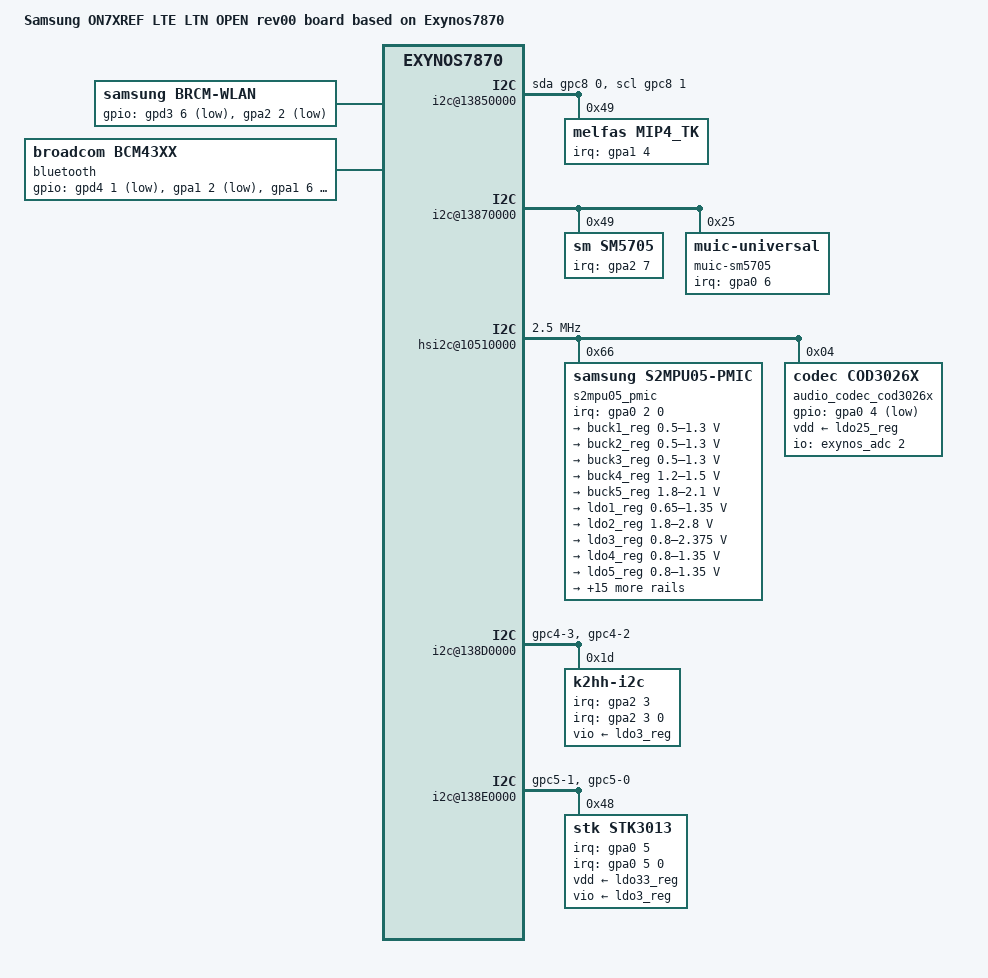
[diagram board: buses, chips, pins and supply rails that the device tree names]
/*
 * SAMSUNG UNIVERSAL8890 board device tree source
 *
 * Copyright (c) 2013 Samsung Electronics Co., Ltd.
 *		http://www.samsung.com
 *
 * This program is free software; you can redistribute it and/or modify
 * it under the terms of the GNU General Public License version 2 as
 * published by the Free Software Foundation.
*/

/dts-v1/;
#include "exynos7870-on7xreflte_common.dtsi"
#include "modem-ss315ap-pdata.dtsi"
#include "exynos7870-on7xreflte_ltn_open_gpio_00.dtsi"
#include "exynos7870-on7xreflte_swa_open_battery_00.dtsi"
#include "exynos7870-on7xelte_fingerprint-sensor_02.dtsi"

/ {
	model = "Samsung ON7XREF LTE LTN OPEN rev00 board based on Exynos7870";
        model_info-chip = <7870>;
        model_info-platform = "android";
        model_info-subtype = "samsung";
        model_info-hw_rev = <0>;
        model_info-hw_rev_end = <0>;
	compatible = "samsung, ON7XREF LTE LTN OPEN 00", "samsung,exynos7870";

	i2c@13850000 {
		compatible = "i2c-gpio";
		gpios = <&gpc8 0 0 /* sda */
				&gpc8 1 0 /* scl */
				>;
		i2c-gpio,delay-us = <2>;
		#address-cells = <1>;
		#size-cells = <0>;
		status = "okay";
		pinctrl-names = "default","on_i2c","off_i2c";
		pinctrl-0 = <&cfg_i2c>;
		pinctrl-1 = <&cfg_i2c>;
		pinctrl-2 = <&cfg_gpio>;
		mip4_tk@49{
			compatible = "melfas,mip4_tk";
			reg = <0x49>;
			pinctrl-names = "default";
			pinctrl-0 = <&tkey_irq>;
			mip4_tk,keynum = <2>;
			mip4_tk,keycode = <254 158>;
			mip4_tk,irq-gpio = <&gpa1 4 0>;
			mip4_tk,pwr-reg-name = "touchkey_3p0";
			mip4_tk,boot-on-ldo = <1>;
			mip4_tk,firmware-name = "melfas_tk/mhs204g_on7xlte.fw";
			mip4_tk,grip_ch = <1>;
		};
	};
	
	i2c@13870000 {
		status = "okay";
		samsung,i2c-sda-delay = <100>;
		samsung,i2c-max-bus-freq = <400000>;
		
		sm5705@49 {
			status = "okay";
			compatible = "sm,sm5705";
			reg = <0x49>; 
			pinctrl-names = "default";
			pinctrl-0 = <&if_irq &chg_en>;
			sm5705,irq-gpio = <&gpa2 7 0>;
			sm5705,wakeup;

			flash {
				status = "okay";
				led1 {
					ledname = "leds-sm5705-fled0";
					id = <0>;
					flash-mode-current-mA = <1000>;
					torch-mode-current-mA = <150>;
					used-gpio-control = <1>;
					flash-en-gpio = <&gpd3 2 0>;
					torch-en-gpio = <&gpd3 3 0>;
					torch_table = <30 60 90 130 180>;
				};
				led2 {
					ledname = "leds-sm5705-fled1";
					id = <1>;
					flash-mode-current-mA = <0>;
					torch-mode-current-mA = <0>;
					used-gpio-control = <0>;
				};
			};
		};

		 muic-sm5705@25{
			compatible = "muic-universal";
            reg = <0x25>;
            pinctrl-names = "default";
            pinctrl-0 = <&muic_irq>;
            muic-universal,chip_name = "sm,sm5705";
            muic-universal,irq-gpio = <&gpa0 6 0>;         //muic_int
            muic-universal,wakeup;
		};
	};

	but_zones: but_zones {
		#list-but-cells = <3>;
	};

	hsi2c@10510000 {
		status = "okay";
		samsung,hs-mode;
		clock-frequency = <2500000>;
		samsung,hsi2c-batcher;
		#address-cells = <1>;
		#size-cells = <0>;

		s2mpu05_pmic@66 {
			compatible = "samsung,s2mpu05-pmic";
			reg = <0x66>;
			ten-bit-address;
			interrupts = <2 0 0>;
			interrupt-parent = <&gpa0>;
			pinctrl-names = "default";
			pinctrl-0 = <&pmic_irq &pm_wrsti>;
			g3d_en = <1>; /* 1 : enable , 0 : disable */
			buck2en_pin = "etc1-3";
			buck2en_addr = "139B0080.pinctrl";
			/* RTC: wtsr/smpl */
			wtsr_en = <1>; /* enable */
			smpl_en = <1>; /* enable */
			wtsr_timer_val = <3>;   /* 1000ms */
			smpl_timer_val = <0>;   /* 100ms */
			check_jigon = <0>; /* do not check jigon */
			/* RTC: If it's first boot, reset rtc to 1/1/2016 12:00:00(Fri) */
			init_time,sec = <0>;
			init_time,min = <0>;
			init_time,hour = <12>;
			init_time,mday = <1>;
			init_time,mon = <0>;
			init_time,year = <116>;
			init_time,wday = <5>;

			regulators {
				buck1_reg: BUCK1 {
					regulator-name = "BUCK1";
					regulator-min-microvolt = <500000>;
					regulator-max-microvolt = <1300000>;
					regulator-always-on;
					regulator-boot-on;
					regulator-ramp-delay = <12000>;
					regulator-initial-mode = <1>;
					regulator-expected-consumer = <2>;
				};

				buck2_reg: BUCK2 {
					regulator-name = "BUCK2";
					regulator-min-microvolt = <500000>;
					regulator-max-microvolt = <1300000>;
					regulator-always-on;
					regulator-boot-on;
					regulator-ramp-delay = <12000>;
					regulator-initial-mode = <2>;		/* MIF mode */
					regulator-expected-consumer = <4>;
				};

				buck3_reg: BUCK3 {
					regulator-name = "BUCK3";
					regulator-min-microvolt = <500000>;
					regulator-max-microvolt = <1300000>;
					regulator-always-on;
					regulator-boot-on;
					regulator-ramp-delay = <12000>;
					regulator-initial-mode = <2>;
				};

				buck4_reg: BUCK4 {
					regulator-name = "BUCK4";
					regulator-min-microvolt = <1200000>;
					regulator-max-microvolt = <1500000>;
					regulator-always-on;
					regulator-boot-on;
					regulator-ramp-delay = <12000>;
					regulator-initial-mode = <2>;
				};

				buck5_reg: BUCK5 {
					regulator-name = "BUCK5";
					regulator-min-microvolt = <1800000>;
					regulator-max-microvolt = <2100000>;
					regulator-always-on;
					regulator-boot-on;
					regulator-ramp-delay = <12000>;
					regulator-initial-mode = <2>;
				};

				ldo1_reg: LDO1 {
					regulator-name = "vdd_ldo1";
					regulator-min-microvolt = <650000>;
					regulator-max-microvolt = <1350000>;
					regulator-always-on;
					regulator-boot-on;
					regulator-ramp-delay = <12000>;
					regulator-initial-mode = <3>;
				};

				ldo2_reg: LDO2 {
					regulator-name = "vqmmc";
					regulator-min-microvolt = <1800000>;
					regulator-max-microvolt = <2800000>;
					regulator-ramp-delay = <12000>;
					regulator-initial-mode = <0>;
				};

				ldo3_reg: LDO3 {
					regulator-name = "vdd_ldo3";
					regulator-min-microvolt = <800000>;
					regulator-max-microvolt = <2375000>;
					regulator-boot-on;
					regulator-always-on;
					regulator-ramp-delay = <12000>;
					regulator-initial-mode = <3>;
				};

				ldo4_reg: LDO4 {
					regulator-name = "vdd_ldo4";
					regulator-min-microvolt = <800000>;
					regulator-max-microvolt = <1350000>;
					regulator-boot-on;
					regulator-always-on;
					regulator-ramp-delay = <12000>;
					regulator-initial-mode = <1>;
				};

				ldo5_reg: LDO5 {
					regulator-name = "vdd_ldo5";
					regulator-min-microvolt = <800000>;
					regulator-max-microvolt = <1350000>;
					regulator-boot-on;
					regulator-always-on;
					regulator-ramp-delay = <12000>;
					regulator-initial-mode = <3>;
				};

				ldo6_reg: LDO6 {
					regulator-name = "vdd_ldo6";
					regulator-min-microvolt = <800000>;
					regulator-max-microvolt = <1350000>;
					regulator-boot-on;
					regulator-always-on;
					regulator-ramp-delay = <12000>;
					regulator-initial-mode = <1>;
				};

				ldo7_reg: LDO7 {
					regulator-name = "vdd_ldo7";
					regulator-min-microvolt = <800000>;
					regulator-max-microvolt = <2375000>;
					regulator-boot-on;
					regulator-always-on;
					regulator-ramp-delay = <12000>;
					regulator-initial-mode = <1>;
				};

				ldo8_reg: LDO8 {
					regulator-name = "vdd_ldo8";
					regulator-min-microvolt = <1800000>;
					regulator-max-microvolt = <3375000>;
					regulator-boot-on;
					regulator-always-on;
					regulator-ramp-delay = <12000>;
					regulator-initial-mode = <1>;
				};

				ldo9_reg: LDO9 {
					regulator-name = "vdd_ldo9";
					regulator-min-microvolt = <650000>;
					regulator-max-microvolt = <1350000>;
					regulator-always-on;
					regulator-ramp-delay = <12000>;
					regulator-initial-mode = <1>;
				};

				ldo10_reg: LDO10 {
					regulator-name = "vdd_ldo10";
					regulator-min-microvolt = <650000>;
					regulator-max-microvolt = <1350000>;
					regulator-always-on;
					regulator-ramp-delay = <12000>;
					regulator-initial-mode = <1>;
				};

				ldo25_reg: LDO25 {
					regulator-name = "vdd_ldo25";
					regulator-min-microvolt = <800000>;
					regulator-max-microvolt = <2375000>;
					regulator-ramp-delay = <12000>;
					regulator-initial-mode = <1>;
				};

				ldo26_reg: LDO26 {
					regulator-name = "vemmc";
					regulator-min-microvolt = <1800000>;
					regulator-max-microvolt = <3375000>;
					regulator-boot-on;
					regulator-ramp-delay = <12000>;
					regulator-initial-mode = <3>;
				};

				ldo27_reg: LDO27 {
					regulator-name = "vqemmc";
					regulator-min-microvolt = <800000>;
					regulator-max-microvolt = <2375000>;
					regulator-boot-on;
					regulator-ramp-delay = <12000>;
					regulator-initial-mode = <3>;
				};

				ldo29_reg: LDO29 {
					regulator-name = "VDD_CAM_AF_2P8";
					regulator-min-microvolt = <2800000>;
					regulator-max-microvolt = <2800000>;
					regulator-initial-mode = <0>;
				};

				ldo30_reg: LDO30 {
					regulator-name = "LCD_1P8";
					regulator-min-microvolt = <1800000>;
					regulator-max-microvolt = <1800000>;
					regulator-boot-on;
					regulator-ramp-delay = <12000>;
					regulator-initial-mode = <3>;
				};

				ldo31_reg: LDO31 {
					regulator-name = "vdd_ldo31";
					regulator-min-microvolt = <2800000>;
					regulator-max-microvolt = <2800000>;
					regulator-boot-on;
					regulator-always-on;
					regulator-ramp-delay = <12000>;
					regulator-initial-mode = <3>;
				};

				ldo32_reg: LDO32 {
					regulator-name = "VDD_MOTOR_3.3";
					regulator-min-microvolt = <3300000>;
					regulator-max-microvolt = <3300000>;
					regulator-ramp-delay = <12000>;
				};

				ldo33_reg: LDO33 {
					regulator-name = "vdd_sensor_3p3";
					regulator-min-microvolt = <3300000>;
					regulator-max-microvolt = <3300000>;
					regulator-ramp-delay = <12000>;
					regulator-initial-mode = <3>;
				};

				ldo34_reg: LDO34 {
					regulator-name = "touchkey_3p0";
					regulator-min-microvolt = <3000000>;
					regulator-max-microvolt = <3000000>;
					regulator-ramp-delay = <12000>;
					regulator-initial-mode = <1>;
					regulator-boot-on;
				};

				ldo35_reg: LDO35 {
					regulator-name = "VDD_CAM_SENSOR_A2P8";
					regulator-min-microvolt = <2800000>;
					regulator-max-microvolt = <2800000>;
					regulator-initial-mode = <0>;
				};
			};
		};

		audio_codec_cod3026x: cod3026x@04 {
			compatible = "codec,cod3026x";
			reg = <0x04>;
			ten-bit-address;
			vdd-supply = <&ldo25_reg>;
			pinctrl-names = "default";
			pinctrl-0 = <&cod3026_irq>;
			interrupt-parent = <&gpa0>;
			gpios = <&gpa0 4 0xf>;
			mic-bias1-voltage = <1>;
			mic-bias2-voltage = <1>;
			mic-bias-ldo-voltage = <3>;
			use-det-adc-mode;
			io-channels = <&exynos_adc 2>;
			io-channel-names = "adc-jack";
			#io-channel-cells = <1>;
			io-channel-ranges;
			but-zones-list = <&but_zones 226 0 200>, /* send/end */
					<&but_zones 582 201 290>, /* google */
					<&but_zones 115 291 496>, /* vol up */
					<&but_zones 114 497 1000>; /* vol down */
			mic-adc-range = <1350>;
		};
	};

	wlan {
		compatible = "samsung,brcm-wlan";
		gpios = <&gpd3 6 0x1 /* WLAN_EN */
		&gpa2 2 0x1 /* WLAN HOST WAKE GPIO_0 */>;
		pinctrl-names = "default";
		pinctrl-0 = <&cfg_wlanen &cfg_wlanhostwake>;
		status = "okay";
	};


	bluetooth {
		compatible = "broadcom,bcm43xx";
		gpios = <&gpd4 1 0x1	/*BT_EN*/
                         &gpa1 2 0x1	/*BT_WAKE*/
                         &gpa1 6 0xF	/*BT_HOST_WAKE*/ >;
		pinctrl-names = "default";
		pinctrl-0=<&bt_hostwake &bt_btwake &bt_en>;
		status = "okay";
	};

	pinctrl@139F0000 {
		acc_int: acc_int {
			samsung,pins = "gpa2-3";
			samsung,pin-function = <0xf>;
			samsung,pin-pud = <0>;
			samsung,pin-drv = <0>;
		};

		prox_int: prox_int {
			samsung,pins = "gpa0-5";
			samsung,pin-function = <0xf>;
			samsung,pin-pud = <0>;
			samsung,pin-drv = <0>;
		};

		grip_irq: grip_irq {
			samsung,pins = "gpa1-5";
			samsung,pin-function = <0xf>;
			samsung,pin-pud = <0>;
			samsung,pin-drv = <0>;
		};

		cfg_wlanhostwake: cfg-wlanhostwake {
			samsung,pins = "gpa2-2";
			samsung,pin-function = <0>;
			samsung,pin-pud = <1>;
		};
	};

	pinctrl@13750000 {
		sd1_bus1: sd1-bus-width1 {
			samsung,pin-pud = <3>;
		};

		sd1_bus4: sd1-bus-width4 {
			samsung,pin-pud = <3>;
		};

	};

	pinctrl@139B0000 {
		sensor_i2c: sensor_i2c {
			samsung,pins = "gpc4-3", "gpc4-2";
			samsung,pin-function = <2>;
			samsung,pin-pud = <0>;
		};

		proxy_i2c: proxy_i2c {
			samsung,pins = "gpc5-1", "gpc5-0";
			samsung,pin-function = <2>;
			samsung,pin-pud = <0>;
		};

		grip_i2c: grip_i2c-bus {
			samsung,pins = "gpc1-3", "gpc1-2";
			samsung,pin-function = <2>;
			samsung,pin-pud = <0>;
		};

		cfg_wlanen: cfg-wlanen  {       /* WLAN_EN */
			samsung,pins = "gpd3-6";
			samsung,pin-function = <1>;
			samsung,pin-pud = <0>;
			samsung,pin-drv = <3>;
			samsung,pin-con-pdn = <3>;
			samsung,pin-pud-pdn = <0>;
			samsung,pin-val = <0>;
		};
	};
	
	pinctrl@139D0000 {
		i2c3_bus: i2c3-bus {
			samsung,pins = "gpc3-1", "gpc3-0";
			samsung,pin-pud = <0>;      /* NP (init-state) */
			samsung,pin-pud-pdn = <1>;  /* PD (sleep-state) */
		};
	};

	i2c@138D0000 {
		samsung,i2c-sda-delay = <100>;
		samsung,i2c-max-bus-freq = <400000>;
		status = "okay";
		#address-cells = <1>;
		#size-cells = <0>;
		pinctrl-names = "default";
		pinctrl-0 = <&sensor_i2c>;

		k2hh-i2c@1D {
			compatible = "k2hh-i2c";
			reg = <0x1D>;
			pinctrl-names = "default";
			pinctrl-0 = <&acc_int>;
			interrupt-parent = <&gpa2>;
			interrupts = <3 0 0>;
			k2hh,irq_gpio = <&gpa2 3 0>;
			k2hh,vio-supply = <&ldo3_reg>;
			k2hh,axis_map_x = <0>;
			k2hh,axis_map_y = <1>;
			k2hh,axis_map_z = <2>;
			k2hh,negate_x = <1>;
			k2hh,negate_y = <0>;
			k2hh,negate_z = <0>;
			k2hh,poll_interval = <100>;
			k2hh,min_interval = <2>;
		};
	};

	i2c@138E0000 {
		samsung,i2c-sda-delay = <100>;
		samsung,i2c-max-bus-freq = <400000>;
		status = "okay";
		#address-cells = <1>;
		#size-cells = <0>;
		pinctrl-names = "default";
		pinctrl-0 = <&proxy_i2c>;

		stk3013@48 {
			compatible = "stk,stk3013";
			reg = <0x48>;
			interrupt-parent = <&gpa0>;
			interrupts = <5 0 0>;
			pinctrl-names = "default";
			pinctrl-0 = <&prox_int>;
			stk,vdd-supply = <&ldo33_reg>;
			stk,vio-supply = <&ldo3_reg>;
			stk,vled_ldo = <&gpa2 5 0>;
			stk,irq-gpio = <&gpa0 5 0x00>;
			stk,state-reg = <0x2d>;
			stk,psctrl-reg = <0x71>;
			stk,alsctrl-reg = <0x2A>;
			stk,ledctrl-reg = <0xBF>;
			stk,wait-reg = <0x03>;
			stk,ps-thd-h = <20>;
			stk,ps-thd-l = <13>;
			stk,ps-cancel-thd-h = <10>;
			stk,ps-cancel-thd-l = <7>;
			stk,ps-cal-skip-adc = <10>;
			stk,ps-cal-fail-adc = <23>;
			stk,ps-default-offset = <3>;
			stk,transmittance = <500>;
		};
	};
	
	fimc_is_module_3m3: fimc-is_sensor_3m3@2D {
		gpio_cam_1p05_en = <&gpf3 0 0x1>; /* VTCAM_CORE_EN */
	};
};
